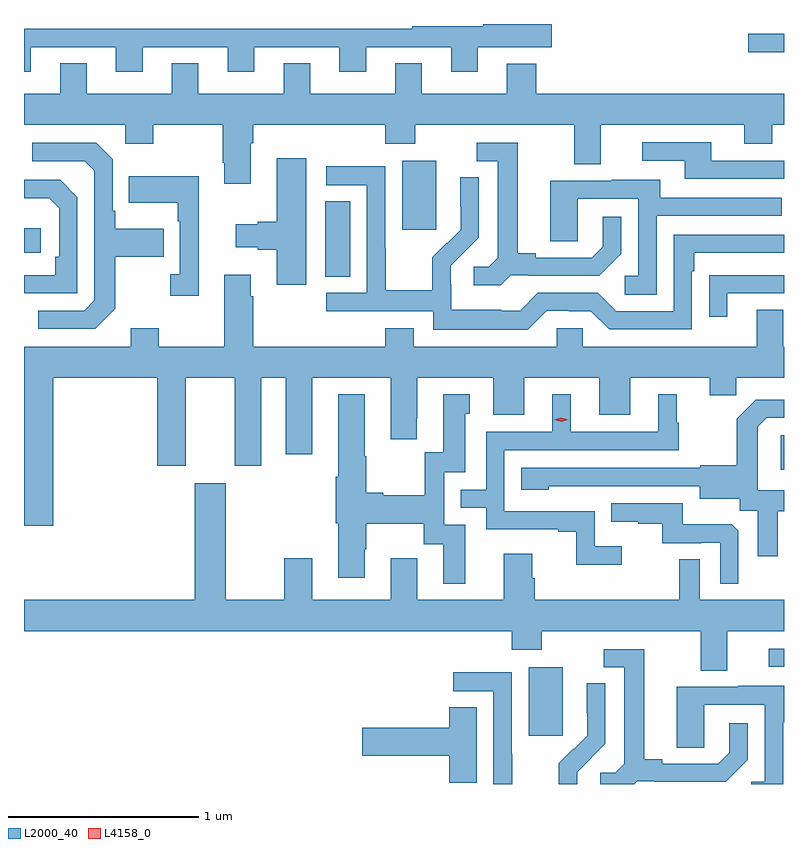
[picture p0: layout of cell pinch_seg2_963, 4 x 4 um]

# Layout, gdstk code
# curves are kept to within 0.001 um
import gdstk
lib = gdstk.Library(unit=1e-6, precision=1e-09)
def R(c, l, rs):  # rectangles x0, y0, x1, y1
    for r in rs: c.add(gdstk.rectangle(r[:2], r[2:], *l))
def P(c, l, *ps):  # polygons
    for p in ps: c.add(gdstk.Polygon(p, *l))
L2000_40 = (2000, 40)
L4158_0 = (4158, 0)

pinch_seg2_963 = lib.new_cell('pinch_seg2_963')
R(pinch_seg2_963, L2000_40, [(134.909,645.753,135.088,646.114), (136.173,646.116,136.253,646.212), (136.235,647.154,136.253,647.334), (133.838,648.169,133.969,648.566), (132.253,648.294,132.34,648.424), (134.243,648.417,134.422,648.778), (136.065,649.35,136.253,649.447)])
P(pinch_seg2_963, L2000_40, [(132.289,649.377),(132.737,649.377),(132.737,649.248),(132.877,649.248),(132.877,649.377),(133.325,649.377),(133.325,649.248),(133.465,649.248),(133.465,649.377),(133.913,649.377),(133.913,649.248),(134.053,649.248),(134.053,649.377),(134.501,649.377),(134.501,649.248),(134.641,649.248),(134.641,649.376),(135.031,649.376),(135.031,649.499),(134.669,649.499),(134.669,649.486),(134.296,649.486),(134.296,649.473),(132.253,649.473),(132.253,649.248),(132.289,649.248)],
  [(133.447,648.872),(133.46,648.872),(133.46,648.968),(134.153,648.968),(134.153,648.869),(134.313,648.869),(134.313,648.968),(135.149,648.968),(135.149,648.76),(135.289,648.76),(135.289,648.968),(136.043,648.968),(136.043,648.869),(136.191,648.869),(136.191,648.968),(136.253,648.968),(136.253,649.132),(134.948,649.132),(134.948,649.291),(134.795,649.291),(134.795,649.132),(134.347,649.132),(134.347,649.292),(134.207,649.292),(134.207,649.132),(133.759,649.132),(133.759,649.292),(133.619,649.292),(133.619,649.132),(133.171,649.132),(133.171,649.292),(133.031,649.292),(133.031,649.132),(132.583,649.132),(132.583,649.292),(132.443,649.292),(132.443,649.132),(132.253,649.132),(132.253,648.968),(132.786,648.968),(132.786,648.869),(132.933,648.869),(132.933,648.968),(133.3,648.968),(133.3,648.769),(133.307,648.769),(133.307,648.657),(133.447,648.657)],
  [(136.253,648.78),(135.871,648.78),(135.871,648.876),(135.507,648.876),(135.507,648.78),(135.731,648.78),(135.731,648.684),(136.253,648.684)],
  [(134.814,648.177),(134.908,648.177),(134.908,648.174),(135.28,648.174),(135.396,648.29),(135.396,648.484),(135.299,648.484),(135.299,648.327),(135.242,648.27),(134.947,648.27),(134.947,648.293),(134.851,648.293),(134.851,648.873),(134.637,648.873),(134.637,648.777),(134.747,648.777),(134.747,648.269),(134.7,648.222),(134.619,648.222),(134.619,648.125),(134.762,648.125)],
  [(132.733,648.001),(132.733,648.274),(132.989,648.274),(132.989,648.421),(132.733,648.421),(132.733,648.517),(132.72,648.517),(132.72,648.786),(132.633,648.873),(132.297,648.873),(132.297,648.777),(132.573,648.777),(132.624,648.726),(132.624,648.045),(132.57,647.991),(132.327,647.991),(132.327,647.895),(132.627,647.895)],
  [(133.738,648.793),(133.583,648.793),(133.583,648.458),(133.484,648.458),(133.484,648.445),(133.368,648.445),(133.368,648.323),(133.484,648.323),(133.484,648.311),(133.583,648.311),(133.583,648.126),(133.738,648.126)],
  [(135.003,647.991),(135.119,647.991),(135.119,647.988),(135.237,647.988),(135.333,647.892),(135.768,647.892),(135.768,648.197),(135.781,648.197),(135.781,648.294),(136.253,648.294),(136.253,648.39),(135.672,648.39),(135.672,647.988),(135.369,647.988),(135.273,648.084),(134.958,648.084),(134.865,647.991),(134.765,647.991),(134.765,647.995),(134.502,647.995),(134.502,648.129),(134.5,648.129),(134.5,648.226),(134.646,648.374),(134.646,648.692),(134.55,648.692),(134.55,648.538),(134.552,648.538),(134.552,648.416),(134.481,648.345),(134.478,648.348),(134.401,648.271),(134.401,648.097),(134.157,648.097),(134.157,648.32),(134.154,648.32),(134.154,648.75),(133.845,648.75),(133.845,648.651),(134.058,648.651),(134.058,648.084),(133.845,648.084),(133.845,647.988),(134.406,647.988),(134.406,647.891),(134.903,647.891)],
  [(133.172,648.697),(132.805,648.697),(132.805,648.557),(133.062,648.557),(133.062,648.461),(133.074,648.461),(133.074,648.182),(133.023,648.182),(133.023,648.069),(133.172,648.069)],
  [(135.582,648.489),(136.241,648.489),(136.241,648.585),(135.601,648.585),(135.601,648.679),(135.347,648.679),(135.347,648.675),(135.023,648.675),(135.023,648.355),(135.168,648.355),(135.168,648.579),(135.486,648.579),(135.486,648.174),(135.414,648.174),(135.414,648.073),(135.582,648.073)],
  [(132.534,648.588),(132.444,648.678),(132.253,648.678),(132.253,648.581),(132.385,648.581),(132.438,648.528),(132.438,648.274),(132.418,648.274),(132.418,648.177),(132.253,648.177),(132.253,648.081),(132.534,648.081)],
  [(133.46,648.065),(133.447,648.065),(133.447,648.178),(133.307,648.178),(133.307,647.8),(132.963,647.8),(132.963,647.899),(132.815,647.899),(132.815,647.8),(132.253,647.8),(132.253,646.857),(132.407,646.857),(132.407,647.636),(132.953,647.636),(132.953,647.175),(133.105,647.175),(133.105,647.636),(133.361,647.636),(133.361,647.175),(133.501,647.175),(133.501,647.636),(133.631,647.636),(133.631,647.235),(133.771,647.235),(133.771,647.636),(134.183,647.636),(134.183,647.313),(134.32,647.313),(134.32,647.425),(134.323,647.425),(134.323,647.636),(134.723,647.636),(134.723,647.442),(134.887,647.442),(134.887,647.636),(135.281,647.636),(135.281,647.442),(135.445,647.442),(135.445,647.636),(135.863,647.636),(135.863,647.546),(136.001,647.546),(136.001,647.636),(136.253,647.636),(136.253,647.8),(136.249,647.8),(136.249,647.995),(136.109,647.995),(136.109,647.8),(135.195,647.8),(135.195,647.898),(135.057,647.898),(135.057,647.8),(134.305,647.8),(134.305,647.899),(134.153,647.899),(134.153,647.8),(133.46,647.8)],
  [(135.955,648.081),(136.253,648.081),(136.253,648.177),(135.961,648.177),(135.961,648.176),(135.859,648.176),(135.859,647.958),(135.955,647.958)],
  [(135.4,646.75),(135.258,646.75),(135.258,646.935),(134.781,646.935),(134.781,647.256),(135.7,647.256),(135.7,647.4),(135.688,647.4),(135.688,647.551),(135.59,647.551),(135.59,647.352),(135.13,647.352),(135.13,647.551),(135.032,647.551),(135.032,647.352),(134.685,647.352),(134.685,647.049),(134.551,647.049),(134.551,646.953),(134.685,646.953),(134.685,646.839),(135.065,646.839),(135.065,646.827),(135.16,646.827),(135.16,646.652),(135.4,646.652)],
  [(134.575,646.863),(134.466,646.863),(134.466,647.139),(134.575,647.139),(134.575,647.448),(134.599,647.448),(134.599,647.551),(134.459,647.551),(134.459,647.244),(134.363,647.244),(134.363,647.02),(134.143,647.02),(134.143,647.033),(134.055,647.033),(134.055,647.225),(134.047,647.225),(134.047,647.551),(133.907,647.551),(133.907,647.116),(133.895,647.116),(133.895,646.872),(133.907,646.872),(133.907,646.584),(134.047,646.584),(134.047,646.734),(134.055,646.734),(134.055,646.868),(134.358,646.868),(134.358,646.762),(134.459,646.762),(134.459,646.554),(134.575,646.554)],
  [(136.219,646.934),(136.253,646.934),(136.253,647.044),(136.116,647.044),(136.116,647.285),(136.114,647.285),(136.114,647.38),(136.161,647.427),(136.253,647.427),(136.253,647.521),(136.105,647.521),(136.005,647.421),(136.005,647.176),(135.813,647.176),(135.813,647.163),(134.871,647.163),(134.871,647.048),(135.015,647.048),(135.015,647.066),(135.809,647.067),(135.809,647),(136.02,647),(136.02,646.936),(136.115,646.936),(136.115,646.698),(136.219,646.698)],
  [(135.955,646.304),(136.253,646.304),(136.253,646.468),(135.81,646.468),(135.81,646.682),(135.702,646.682),(135.702,646.468),(134.942,646.468),(134.942,646.581),(134.929,646.581),(134.929,646.711),(134.777,646.711),(134.777,646.468),(134.323,646.468),(134.323,646.687),(134.183,646.687),(134.183,646.468),(133.771,646.468),(133.771,646.687),(133.624,646.687),(133.624,646.468),(133.315,646.468),(133.315,647.083),(133.151,647.083),(133.151,646.468),(132.253,646.468),(132.253,646.304),(134.819,646.304),(134.819,646.205),(134.979,646.205),(134.979,646.304),(135.815,646.304),(135.815,646.096),(135.955,646.096)],
  [(136.011,646.833),(135.979,646.865),(135.721,646.865),(135.721,646.977),(135.343,646.977),(135.343,646.88),(135.487,646.88),(135.487,646.869),(135.611,646.869),(135.611,646.767),(135.818,646.767),(135.818,646.77),(135.918,646.77),(135.918,646.553),(136.011,646.553)],
  [(135.48,645.513),(135.574,645.513),(135.574,645.51),(135.946,645.51),(136.062,645.626),(136.062,645.82),(135.965,645.82),(135.965,645.663),(135.908,645.606),(135.613,645.606),(135.613,645.629),(135.517,645.629),(135.517,646.209),(135.303,646.209),(135.303,646.113),(135.413,646.113),(135.413,645.605),(135.366,645.558),(135.285,645.558),(135.285,645.499),(135.466,645.499)],
  [(134.823,645.656),(134.82,645.656),(134.82,646.086),(134.511,646.086),(134.511,645.987),(134.724,645.987),(134.724,645.499),(134.823,645.499)],
  [(135.166,645.562),(135.312,645.71),(135.312,646.028),(135.216,646.028),(135.216,645.874),(135.218,645.874),(135.218,645.752),(135.147,645.681),(135.144,645.684),(135.067,645.607),(135.067,645.499),(135.166,645.499)],
  [(136.248,645.825),(136.253,645.825),(136.253,646.015),(136.013,646.015),(136.013,646.011),(135.689,646.011),(135.689,645.691),(135.834,645.691),(135.834,645.915),(136.152,645.915),(136.152,645.51),(136.08,645.51),(136.08,645.499),(136.248,645.499)],
  [(134.635,645.902),(134.492,645.902),(134.492,645.794),(134.034,645.794),(134.034,645.647),(134.492,645.647),(134.492,645.505),(134.635,645.505)])
P(pinch_seg2_963, L4158_0, [(135.081,647.406),(135.045,647.415),(135.045,647.416),(135.045,647.416),(135.081,647.426),(135.117,647.416),(135.117,647.416),(135.117,647.415)])

lib.write_gds('pinch_seg2_963.gds')
